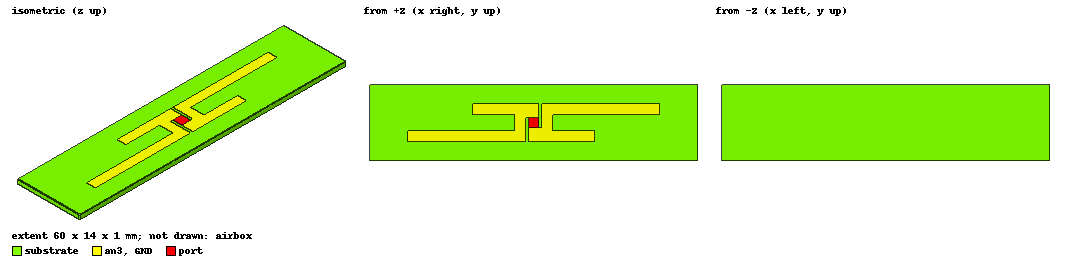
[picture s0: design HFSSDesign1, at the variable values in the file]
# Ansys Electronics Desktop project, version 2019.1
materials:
  vacuum: permittivity=1
  FR4_epoxy: permittivity=4.4 dielectric_loss_tangent=0.02
  copper: permeability=0.999991 conductivity=58000000
  air: permittivity=1.0006 permeability=1.0000004

design HFSSDesign1 (HFSS, DrivenTerminal, model units mm)
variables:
  L1 = 19.5mm
  l2 = 7.6mm
  h = 7mm
  w = 2mm
  subh = 1mm
  d = 2.5mm
  sx = 60mm
  sy = 14mm
  lam = 122mm
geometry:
  substrate [FR4_epoxy] = box(corner=(-sx/2, -sy/2, 0mm), size=(sx, sy, subh))
  an1 = rectangle(corner=(w/2, w/2, subh), x_size=-d, y_size=d)
  port = rectangle(corner=(-w/2, -w/2, subh), x_size=w, y_size=w)
  an2 = rectangle(corner=(-d+w/2, w/2+d, subh), x_size=-w, y_size=-h)
  an3 = rectangle(corner=(-w-d+w/2, -h/2, subh), x_size=-l1, y_size=w)
  an4 = rectangle(corner=(-d-w/2, h/2, subh), x_size=-l2, y_size=-w)
  an3.unite(an2, an4, an1)
  GND = an3.duplicate_around_axis(axis=Z, angle=180deg, total=2)
  airbox [air] = box(corner=(-lam/2-sx/2, -lam/2-sy/2, -lam/2), size=(lam+sx, lam+sy, lam+subh))
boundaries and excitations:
  FiniteCond1: Finite Conductivity Objects=[GND, an3] UseMaterial Material=copper IsInternal
  Rad1: Radiation Objects=airbox
  an3_T1: Terminal port=1 Edges=an3.edge(1 of 4) TerminalResistance=50ohm
  1: Lumped Port Faces=port.face Impedance=50ohm
  reference conductors: GND
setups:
  Setup1: HfssDriven Frequency=7.8GHz MaxDeltaS=0.02 MaximumPasses=8 MinimumPasses=1 MinimumConvergedPasses=1 PercentRefinement=30 BasisOrder=1 PortAccuracy=2
    sweep Sweep: 1GHz to 9GHz step 0.02GHz; Type=Interpolating InterpTolerance=0.5 InterpMaxSolns=250 PassivityErrorTolerance=0.0001
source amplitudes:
  1:1: 1V 0deg
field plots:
  Vector_Jsurf1: Jsurf over an3.face(at (-13.25, -2.5, 1)) GND.face on Setup1 : LastAdaptive at Freq=7.8GHz Phase=0deg
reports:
  Terminal S Parameter Plot 1: dB(St(an3_T1,an3_T1)) vs Freq on Setup1 : Sweep; markers m1 at 2.42GHz, m2 at 5GHz, m3 at 7.84GHz, m4 at 7.28GHz, m5 at 8.44GHz
